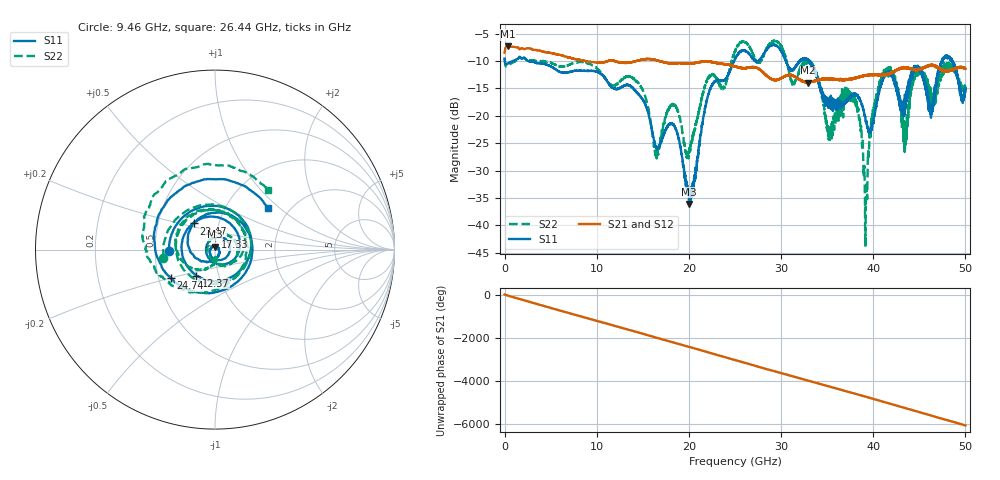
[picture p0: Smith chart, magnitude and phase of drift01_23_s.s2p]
!Created with skrf (http://scikit-rf.org).
# Hz S RI R 50.0
!freq ReS11 ImS11 ReS21 ImS21 ReS12 ImS12 ReS22 ImS22
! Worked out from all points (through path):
!   10001 points, 300 kHz to 50 GHz, reference 50 ohm
!   highest |S21| = -7.33 dB at 325.3 MHz (marker M1); lowest = -13.9 dB at 32.94 GHz (marker M2)
!   group delay of S21, straight-line fit = 335 ps
!   lowest |S11| = -36.1 dB at 20.01 GHz (marker M3), VSWR 1.03, Z = 49.9 + j1.56 ohm
!   |S11| at or under -10 dB: 2.567 GHz to 24.9 GHz (22.34 GHz wide, 163 % of centre); 30.51 GHz to 32.02 GHz (1.51 GHz wide, 4.83 % of centre); 33.04 GHz to 47.43 GHz (14.39 GHz wide, 35.8 % of centre) (the widest 3 of 24)
!   |S22| runs from -43.8 to -6.3 dB; largest |S21 - S12| = 0.0085
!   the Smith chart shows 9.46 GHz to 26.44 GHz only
!   S11 on the Smith chart (normalised r, x): 9.46 GHz: 0.59, -0.01; 12.37 GHz: 0.78, -0.23; 17.33 GHz: 1.00, +0.14; 22.47 GHz: 0.76, +0.23; 24.74 GHz: 0.58, -0.20; 26.44 GHz: 1.57, +0.83
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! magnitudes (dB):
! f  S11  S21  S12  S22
! 300 kHz  -9.6  -8.5  -8.5  -9.5
! 325.3 MHz  -10.5  -7.3  -7.3  -10.9
! 8.335 GHz  -11.8  -9.9  -9.8  -10.2
! 9.46 GHz  -11.8  -10.2  -10.2  -10.7
! 12.37 GHz  -15.0  -10.2  -10.2  -13.9
! 16.67 GHz  -26.0  -10.0  -9.9  -27.1
! 17.33 GHz  -23.2  -10.2  -10.2  -21.3
! 20.01 GHz  -36.1  -10.5  -10.5  -26.6
! 22.47 GHz  -14.5  -10.2  -10.2  -12.5
! 24.74 GHz  -10.6  -10.9  -10.9  -9.4
! 25 GHz  -9.6  -11.0  -11.0  -8.2
! 26.44 GHz  -8.6  -11.2  -11.2  -7.1
! 32.94 GHz  -10.0  -13.9  -13.9  -10.3
! 33.34 GHz  -10.8  -13.8  -13.8  -10.6
! 35.24 GHz  -17.6  -13.3  -13.3  -23.2
! 37.99 GHz  -16.0  -13.2  -13.2  -17.2
! 39.17 GHz  -20.6  -12.6  -12.7  -40.8
! 40.14 GHz  -19.9  -12.5  -12.5  -17.8
! 41.67 GHz  -12.2  -12.3  -12.4  -11.7
! 43.45 GHz  -17.1  -11.3  -11.3  -25.7
! 44.88 GHz  -11.6  -11.6  -11.6  -12.0
! 50 GHz  -15.1  -11.4  -11.4  -14.9
